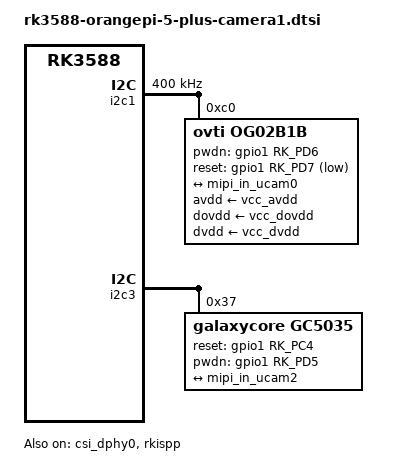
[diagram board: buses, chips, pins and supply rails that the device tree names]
// SPDX-License-Identifier: (GPL-2.0+ OR MIT)
/*
 * Copyright (c) 2021 Rockchip Electronics Co., Ltd.
 *
 */

&csi2_dphy0_hw {
	status = "disabled";
};

// for og02b1b camera
&csi_dphy0 {
	status = "okay";
	ports {
		port@0 {
			mipi_in_ucam0: endpoint@1 {
				remote-endpoint = <&ucam_out0>;
				data-lanes = <1 2>;
			};
		};
		port@1 {
			csidphy0_out: endpoint@0 {
				// remote-endpoint = <&mipi_csi2_input>;
				remote-endpoint = <&isp_in>;
				data-lanes = <1 2>;
			};
		};
	};
};

// for og02b1b camera
&csi_dphy1 {
	status = "disabled";
	ports {
		port@0 {
			csi_dphy1_input: endpoint@1 {
				/delete-property/ remote-endpoint;
				// remote-endpoint = <&ucam_out1>;
				data-lanes = <1 2>;
			};
		};
		port@1 {
			csi_dphy1_output: endpoint@0 {
				// remote-endpoint = <&isp_in>;
				/delete-property/ remote-endpoint;
				data-lanes = <1 2>;
			};
		};
	};
};

&csi2_dphy0 {
	status = "disabled";
	ports {
		#address-cells = <1>;
		#size-cells = <0>;
		port@0 {
			reg = <0>;
			#address-cells = <1>;
			#size-cells = <0>;

			mipi_in_ucam0: endpoint@0 {
				reg = <0>;
				remote-endpoint = <&ov13850_out2>;
				data-lanes = <1 2>;
			};

			mipi_in_ucam1: endpoint@1 {
				reg = <1>;
				remote-endpoint = <&ov13855_out2>;
				data-lanes = <1 2>;
			};

			mipi_in_ucam2: endpoint@2 {
				reg = <2>;
				remote-endpoint = <&gc5035_out>;
				data-lanes = <1 2>;
			};
		};
		port@1 {
		        reg = <1>;
		        #address-cells = <1>;
		        #size-cells = <0>;
		        csidphy0_out: endpoint@0 {
		                reg = <0>;
		                remote-endpoint = <&mipi2_csi2_input>;
		        };
		};
	};
};

// for og02b1b camera
&i2c1 {
	status = "okay";
	clock-frequency = <400000>;
	/delete-node/ ar0230@10;
	/delete-node/ ov4689@36;
	/delete-node/ os04a10@36;
	/delete-node/ ov2718@10;
	/delete-node/ gc2053@37;
	
	og02b1b: og02b1b@c0 {
		compatible = "ovti,og02b1b";
		reg = <0xc0>;
		clocks = <&cru CLK_MIPICSI_OUT>;
		clock-names = "xvclk";
		power-domains = <&power RV1126_PD_VI>;
		pinctrl-names = "default";
		pinctrl-0 = <&mipicsi_clk0>;
		avdd-supply = <&vcc_avdd>;
		dovdd-supply = <&vcc_dovdd>;
		dvdd-supply = <&vcc_dvdd>;
		pwdn-gpios = <&gpio1 RK_PD6 GPIO_ACTIVE_HIGH>;
        	reset-gpios = <&gpio1 RK_PD7 GPIO_ACTIVE_LOW>;  
		rockchip,camera-module-index = <1>;
		rockchip,camera-module-facing = "front";
		rockchip,camera-module-name = "HK301";
		rockchip,camera-module-lens-name = "JZ-7070BS-A2-M8";
		ir-cut = <&cam_ircut0>;
		port {
			ucam_out0: endpoint {
				remote-endpoint = <&mipi_in_ucam0>;
				data-lanes = <1 2>;
			};
		};
	};
};

&i2c3 {
	status = "okay";
	pinctrl-names = "default";
	pinctrl-0 = <&i2c3m0_xfer>;

	vm149c_p1: vm149c-p1@c {
		compatible = "silicon touch,vm149c";
		status = "disabled";
		reg = <0x0c>;
		rockchip,camera-module-index = <1>;
		rockchip,camera-module-facing = "back";
	};

	ov13850_1: ov13850-1@10 {
		compatible = "ovti,ov13850";
		status = "disabled";
		reg = <0x10>;
		clocks = <&cru CLK_MIPI_CAMARAOUT_M3>;
		clock-names = "xvclk";
		pinctrl-names = "default";
		pinctrl-0 = <&mipim1_camera3_clk>;
		reset-gpios = <&gpio1 RK_PC4 GPIO_ACTIVE_HIGH>;
		pwdn-gpios = <&gpio1 RK_PD5 GPIO_ACTIVE_HIGH>;
		rockchip,camera-module-index = <0>;
		rockchip,camera-module-facing = "back";
		rockchip,camera-module-name = "CMK-CT0116";
		rockchip,camera-module-lens-name = "default";
		lens-focus = <&vm149c_p1>;
		port {
			ov13850_out2: endpoint {
				remote-endpoint = <&mipi_in_ucam0>;
				data-lanes = <1 2>;
			};
		};
	};

	dw9714_p1: dw9714-p1@c {
		compatible = "dongwoon,dw9714";
		status = "disabled";
		reg = <0x0c>;
		rockchip,camera-module-index = <0>;
		rockchip,vcm-start-current = <10>;
		rockchip,vcm-rated-current = <85>;
		rockchip,vcm-step-mode = <5>;
		rockchip,camera-module-facing = "back";
	};

	ov13855_1: ov13855-1@36 {
		compatible = "ovti,ov13855";
		status = "disabled";
		reg = <0x36>;
		clocks = <&cru CLK_MIPI_CAMARAOUT_M3>;
		clock-names = "xvclk";
		pinctrl-names = "default";
		pinctrl-0 = <&mipim1_camera3_clk>;
		reset-gpios = <&gpio1 RK_PC4 GPIO_ACTIVE_HIGH>;
		pwdn-gpios = <&gpio1 RK_PD5 GPIO_ACTIVE_HIGH>;
		rockchip,camera-module-index = <0>;
		rockchip,camera-module-facing = "back";
		rockchip,camera-module-name = "CMK-OT2016-FV1";
		rockchip,camera-module-lens-name = "default";
		lens-focus = <&dw9714_p1>;
		port {
			ov13855_out2: endpoint {
				remote-endpoint = <&mipi_in_ucam1>;
				data-lanes = <1 2>;
			};
		};
	};

	gc5035: gc5035@37 {
		compatible = "galaxycore,gc5035";
		status = "okay";
		reg = <0x37>;
		clocks = <&cru CLK_MIPI_CAMARAOUT_M3>;
		clock-names = "xvclk";
		pinctrl-names = "default";
		pinctrl-0 = <&mipim1_camera3_clk>;

		//reset pin control by hardware,used this pin switch to mipi input
		//0->FRONT camera, 1->REAR camera
		reset-gpios = <&gpio1 RK_PC4 GPIO_ACTIVE_HIGH>;
		pwdn-gpios = <&gpio1 RK_PD5 GPIO_ACTIVE_HIGH>;
		rockchip,camera-module-index = <0>;
		rockchip,camera-module-facing = "front";
		rockchip,camera-module-name = "XHG-RKX11F-V5";
		rockchip,camera-module-lens-name = "HR232H65";
		port {
			gc5035_out: endpoint {
				remote-endpoint = <&mipi_in_ucam2>;
				data-lanes = <1 2>;
			};
		};
	};
};

// for og02b1b camera

&mipi_csi2 {
	status = "disabled";
	ports {
		port@0 {
			mipi_csi2_input: endpoint@1 {
				// remote-endpoint = <&csidphy0_out>;
				/delete-property/ remote-endpoint;
				data-lanes = <1 2 3 4>;
			};
		};

		port@1 {
			mipi_csi2_output: endpoint@0 {
				// remote-endpoint = <&cif_mipi_in>;
				/delete-property/ remote-endpoint;
				data-lanes = <1 2 3 4>;
			};
		};
	};
};


&mipi2_csi2 {
	status = "disabled";
	ports {
		#address-cells = <1>;
		#size-cells = <0>;
		port@0 {
			reg = <0>;
			#address-cells = <1>;
			#size-cells = <0>;
			mipi2_csi2_input: endpoint@1 {
				reg = <1>;
				remote-endpoint = <&csidphy0_out>;
			};
		};
		port@1 {
			reg = <1>;
			#address-cells = <1>;
			#size-cells = <0>;
			mipi2_csi2_output: endpoint@0 {
				reg = <0>;
				remote-endpoint = <&cif_mipi_in2>;
			};
		};
	};
};

// for og02b1b camera
&rkcif_mipi_lvds {
	status = "disabled";
	port {
		cif_mipi_in: endpoint {
			// remote-endpoint = <&mipi_csi2_output>;
			/delete-property/ remote-endpoint;
			data-lanes = <1 2 3 4>;
		};
	};
};

&rkcif_mipi_lvds2 {
	status = "disabled";
	port {
		cif_mipi_in2: endpoint {
			remote-endpoint = <&mipi2_csi2_output>;
		};
	};
};

// for og02b1b camera
&rkcif_mipi_lvds_sditf {
	status = "disabled";

	port {
		cif_sditf: endpoint {
			// remote-endpoint = <&isp_virt1_in>;
			/delete-property/ remote-endpoint;
			data-lanes = <1 2 3 4>;
		};
	};
};

&rkcif_mipi_lvds2_sditf {
	status = "disabled";
	port {
		mipi2_lvds_sditf: endpoint {
			remote-endpoint = <&isp0_vir1>;
		};
	};
};

// for og02b1b camera
&rkisp_vir0 {
	ports {
		port@0 {
			isp_in: endpoint@0 {
				// remote-endpoint = <&csi_dphy1_output>;
				remote-endpoint = <&csidphy0_out>;
			};
		};
	};
};

// for og02b1b camera
&rkisp_vir1 {
	status = "disabled";
	ports {
		port@0 {
			reg = <0>;
			#address-cells = <1>;
			#size-cells = <0>;

			isp_virt1_in: endpoint@0 {
				reg = <0>;
				// remote-endpoint = <&cif_sditf>;
				/delete-property/ remote-endpoint;
			};
		};
	};
};

&rkisp0_vir1 {
	status = "disabled";
	port {
		#address-cells = <1>;
		#size-cells = <0>;
		isp0_vir1: endpoint@0 {
			reg = <0>;
			remote-endpoint = <&mipi2_lvds_sditf>;
		};
	};
};

// for og02b1b camera
&rkispp_vir1 {
	status = "disabled";
};

// for og02b1b camera
&rkispp {
	status = "okay";
	/* the max input w h and fps of mulit sensor */
	max-input = <1600 1300 60>;
};
